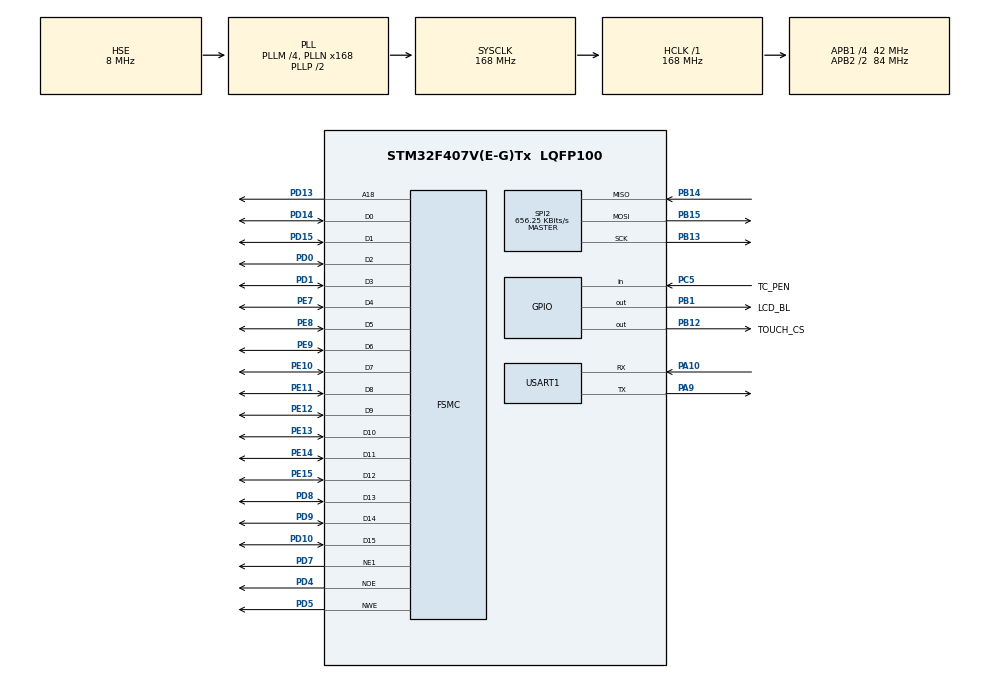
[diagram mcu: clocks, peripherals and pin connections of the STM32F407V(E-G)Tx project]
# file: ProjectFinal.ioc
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FSMC.AddressSetupTime1=1
FSMC.BusTurnAroundDuration1=0
FSMC.DataSetupTime1=5
Mcu.Family=STM32F4
Mcu.Name=STM32F407V(E-G)Tx
Mcu.Package=LQFP100
NVIC.PriorityGroup=NVIC_PRIORITYGROUP_4
NVIC.TIM2_IRQn=true\:0\:0\:false\:false\:true\:true\:true\:true
NVIC.USART1_IRQn=true\:0\:0\:false\:false\:true\:true\:true\:true
PA10.Mode=Asynchronous
PA10.Signal=USART1_RX
PA13.Mode=Serial_Wire
PA13.Signal=SYS_JTMS-SWDIO
PA14.Mode=Serial_Wire
PA14.Signal=SYS_JTCK-SWCLK
PA9.Mode=Asynchronous
PA9.Signal=USART1_TX
PB1.GPIO_Label=LCD_BL
PB1.Signal=GPIO_Output
PB12.GPIO_Label=TOUCH_CS
PB12.Signal=GPIO_Output
PB13.Mode=Full_Duplex_Master
PB13.Signal=SPI2_SCK
PB14.Mode=Full_Duplex_Master
PB14.Signal=SPI2_MISO
PB15.Mode=Full_Duplex_Master
PB15.Signal=SPI2_MOSI
PC5.GPIO_Label=TC_PEN
PC5.Signal=GPIO_Input
PD0.Mode=16b-d1
PD0.Signal=FSMC_D2
PD1.Mode=16b-d1
PD1.Signal=FSMC_D3
PD10.Mode=16b-d1
PD10.Signal=FSMC_D15
PD13.Mode=A18_1
PD13.Signal=FSMC_A18
PD14.Mode=16b-d1
PD14.Signal=FSMC_D0
PD15.Mode=16b-d1
PD15.Signal=FSMC_D1
PD4.Mode=Lcd1
PD4.Signal=FSMC_NOE
PD5.Mode=Lcd1
PD5.Signal=FSMC_NWE
PD7.Mode=NorPsramChipSelect1_1
PD7.Signal=FSMC_NE1
PD8.Mode=16b-d1
PD8.Signal=FSMC_D13
PD9.Mode=16b-d1
PD9.Signal=FSMC_D14
PE10.Mode=16b-d1
PE10.Signal=FSMC_D7
PE11.Mode=16b-d1
PE11.Signal=FSMC_D8
PE12.Mode=16b-d1
PE12.Signal=FSMC_D9
PE13.Mode=16b-d1
PE13.Signal=FSMC_D10
PE14.Mode=16b-d1
PE14.Signal=FSMC_D11
PE15.Mode=16b-d1
PE15.Signal=FSMC_D12
PE7.Mode=16b-d1
PE7.Signal=FSMC_D4
PE8.Mode=16b-d1
PE8.Signal=FSMC_D5
PE9.Mode=16b-d1
PE9.Signal=FSMC_D6
PH0-OSC_IN.Mode=HSE-External-Oscillator
PH0-OSC_IN.Signal=RCC_OSC_IN
PH1-OSC_OUT.Mode=HSE-External-Oscillator
PH1-OSC_OUT.Signal=RCC_OSC_OUT
ProjectManager.HeapSize=0x200
ProjectManager.StackSize=0x400
ProjectManager.TargetToolchain=STM32CubeIDE
RCC.48MHZClocksFreq_Value=84000000
RCC.AHBFreq_Value=168000000
RCC.APB1CLKDivider=RCC_HCLK_DIV4
RCC.APB1Freq_Value=42000000
RCC.APB1TimFreq_Value=84000000
RCC.APB2CLKDivider=RCC_HCLK_DIV2
RCC.APB2Freq_Value=84000000
RCC.APB2TimFreq_Value=168000000
RCC.CortexFreq_Value=168000000
RCC.HCLKFreq_Value=168000000
RCC.HSE_VALUE=8000000
RCC.HSI_VALUE=16000000
RCC.LSE_VALUE=32768
RCC.PLLM=4
RCC.PLLN=168
RCC.PLLSourceVirtual=RCC_PLLSOURCE_HSE
RCC.SYSCLKFreq_VALUE=168000000
RCC.SYSCLKSource=RCC_SYSCLKSOURCE_PLLCLK
RCC.VCOOutputFreq_Value=336000000
SPI2.BaudRatePrescaler=SPI_BAUDRATEPRESCALER_64
SPI2.CalculateBaudRate=656.25 KBits/s
SPI2.Direction=SPI_DIRECTION_2LINES
SPI2.Mode=SPI_MODE_MASTER
SPI2.VirtualType=VM_MASTER
TIM2.Period=9999
TIM2.Prescaler=8499
USART1.VirtualMode=VM_ASYNC
VP_TIM2_VS_ClockSourceINT.Mode=Internal
board=custom

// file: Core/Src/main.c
/* USER CODE BEGIN Header */
/**
  ******************************************************************************
  * @file           : main.c
  * @brief          : Main program body
  ******************************************************************************
  * @attention
  *
  * Copyright (c) 2024 STMicroelectronics.
  * All rights reserved.
  *
  * This software is licensed under terms that can be found in the LICENSE file
  * in the root directory of this software component.
  * If no LICENSE file comes with this software, it is provided AS-IS.
  *
  ******************************************************************************
  */
/* USER CODE END Header */
#include "main.h"

/* USER CODE BEGIN Includes */
#include "stdio.h"
#include "ili9341.h"
#include "math.h"
#include "string.h"
#include "front_end.h"
#include "touch.h"
#include "cJSON.h"
#include "stdlib.h"
#include "stdbool.h"
#include "DHT.h"
/* USER CODE END Includes */

/* USER CODE BEGIN PD */
#define min(a,b) (((a)<(b))?(a):(b))

#define UART_RX_BUFFER_SIZE 1024
#define UART_BUFFER_SIZE 2048
uint8_t uart_rx_buffer[UART_BUFFER_SIZE];

/* USER CODE END PD */

SPI_HandleTypeDef hspi2;

TIM_HandleTypeDef htim2;

UART_HandleTypeDef huart1;

SRAM_HandleTypeDef hsram1;

void SystemClock_Config(void);
static void MX_GPIO_Init(void);
static void MX_FSMC_Init(void);
static void MX_USART1_UART_Init(void);
static void MX_SPI2_Init(void);
static void MX_TIM2_Init(void);
/* USER CODE BEGIN PFP */
/* Private function prototypes -----------------------------------------------*/
void processWeather(char *jsonString);

void UART_ReceiveString(UART_HandleTypeDef *huart, char *buffer, int buffer_size);
void Send_AT_Commands(UART_HandleTypeDef *huart);
void Resend_AT_Commands(UART_HandleTypeDef *huart);
void Send_AT_Command(UART_HandleTypeDef *huart, const char *command, uint32_t timeout );
void Send_AT_Command1(UART_HandleTypeDef *huart, const char *command, uint32_t timeout );
//
void RunProgram();

/* USER CODE END PFP */

/* USER CODE BEGIN 0 */
int count = 0;
float temperature = 1;
float humidity = 1;
volatile bool readDHT = false;
volatile bool Recall = false;
volatile bool Reload = false;
int *temp_max = {0};
int *temp_min = {0};
double *UV = {0};
int *wind_speed = {0};
int *day_code = {0};
char day_name[7][4];
char Date[7][6];
char current_time[6];
char current_date[11];
int current_temp;
int current_humi;
int current_code;
int current_cloud;
int isDay;

int choice = 1;
int choiceTmp = 1;
//
int current = 1;
bool updated = true;
int16_t tx , ty;

// AT Commands
uint8_t ATCommand1[UART_BUFFER_SIZE] = "GET /v1/forecast?latitude=10.7769&longitude=106.7009&current=temperature_2m,relative_humidity_2m,is_day,weather_code,cloud_cover&daily=weather_code,temperature_2m_max,temperature_2m_min,uv_index_max,wind_speed_10m_max&timezone=Asia%2FBangkok HTTP/1.1\r\nHost: api.open-meteo.com\r\nConnection: close\r\n\r\n";

uint8_t ATCommand2[UART_BUFFER_SIZE] = "GET /v1/forecast?latitude=21.0285&longitude=105.8542&current=temperature_2m,relative_humidity_2m,is_day,weather_code,cloud_cover&daily=weather_code,temperature_2m_max,temperature_2m_min,uv_index_max,wind_speed_10m_max&timezone=Asia%2FBangkok HTTP/1.1\r\nHost: api.open-meteo.com\r\nConnection: close\r\n\r\n";

uint8_t ATCommand3[UART_BUFFER_SIZE] = "GET /v1/forecast?latitude=20.8449&longitude=106.6881&current=temperature_2m,relative_humidity_2m,is_day,weather_code,cloud_cover&daily=weather_code,temperature_2m_max,temperature_2m_min,uv_index_max,wind_speed_10m_max&timezone=Asia%2FBangkok HTTP/1.1\r\nHost: api.open-meteo.com\r\nConnection: close\r\n\r\n";

uint8_t ATCommand4[UART_BUFFER_SIZE] = "GET /v1/forecast?latitude=10.0452&longitude=105.7469&current=temperature_2m,relative_humidity_2m,is_day,weather_code,cloud_cover&daily=weather_code,temperature_2m_max,temperature_2m_min,uv_index_max,wind_speed_10m_max&timezone=Asia%2FBangkok HTTP/1.1\r\nHost: api.open-meteo.com\r\nConnection: close\r\n\r\n";

uint8_t ATCommand5[UART_BUFFER_SIZE] = "GET /v1/forecast?latitude=16.0471&longitude=108.2068&current=temperature_2m,relative_humidity_2m,is_day,weather_code,cloud_cover&daily=weather_code,temperature_2m_max,temperature_2m_min,uv_index_max,wind_speed_10m_max&timezone=Asia%2FBangkok HTTP/1.1\r\nHost: api.open-meteo.com\r\nConnection: close\r\n\r\n";

/* USER CODE END 0 */

int main(void)
{

  /* MCU Configuration--------------------------------------------------------*/

  /* Reset of all peripherals, Initializes the Flash interface and the Systick. */
  HAL_Init();

  /* Configure the system clock */
  SystemClock_Config();

  /* Initialize all configured peripherals */
  MX_GPIO_Init();
  MX_FSMC_Init();
  MX_USART1_UART_Init();
  MX_SPI2_Init();
  MX_TIM2_Init();
  /* USER CODE BEGIN 2 */
  LCD_BL_ON();
  HAL_TIM_Base_Start_IT(&htim2);
  TouchCalibrate();

  lcdInit();
  int i = 0;

  lcdSetOrientation(i%4);
  lcdFillRGB(COLOR_BLACK);
  Send_AT_Commands(&huart1);
  processWeather(uart_rx_buffer);

  /* USER CODE END 2 */

  /* Infinite loop */
  /* USER CODE BEGIN WHILE */
  while (1)
  {
	  RunProgram();
    /* USER CODE END WHILE */

  }
}

void SystemClock_Config(void)
{
  RCC_OscInitTypeDef RCC_OscInitStruct = {0};
  RCC_ClkInitTypeDef RCC_ClkInitStruct = {0};

  /** Configure the main internal regulator output voltage
  */
  __HAL_RCC_PWR_CLK_ENABLE();
  __HAL_PWR_VOLTAGESCALING_CONFIG(PWR_REGULATOR_VOLTAGE_SCALE1);

  /** Initializes the RCC Oscillators according to the specified parameters
  * in the RCC_OscInitTypeDef structure.
  */
  RCC_OscInitStruct.OscillatorType = RCC_OSCILLATORTYPE_HSE;
  RCC_OscInitStruct.HSEState = RCC_HSE_ON;
  RCC_OscInitStruct.PLL.PLLState = RCC_PLL_ON;
  RCC_OscInitStruct.PLL.PLLSource = RCC_PLLSOURCE_HSE;
  RCC_OscInitStruct.PLL.PLLM = 4;
  RCC_OscInitStruct.PLL.PLLN = 168;
  RCC_OscInitStruct.PLL.PLLP = RCC_PLLP_DIV2;
  RCC_OscInitStruct.PLL.PLLQ = 4;
  if (HAL_RCC_OscConfig(&RCC_OscInitStruct) != HAL_OK)
  {
    Error_Handler();
  }

  /** Initializes the CPU, AHB and APB buses clocks
  */
  RCC_ClkInitStruct.ClockType = RCC_CLOCKTYPE_HCLK|RCC_CLOCKTYPE_SYSCLK
                              |RCC_CLOCKTYPE_PCLK1|RCC_CLOCKTYPE_PCLK2;
  RCC_ClkInitStruct.SYSCLKSource = RCC_SYSCLKSOURCE_PLLCLK;
  RCC_ClkInitStruct.AHBCLKDivider = RCC_SYSCLK_DIV1;
  RCC_ClkInitStruct.APB1CLKDivider = RCC_HCLK_DIV4;
  RCC_ClkInitStruct.APB2CLKDivider = RCC_HCLK_DIV2;

  if (HAL_RCC_ClockConfig(&RCC_ClkInitStruct, FLASH_LATENCY_5) != HAL_OK)
  {
    Error_Handler();
  }
}

static void MX_SPI2_Init(void)
{

  /* SPI2 parameter configuration*/
  hspi2.Instance = SPI2;
  hspi2.Init.Mode = SPI_MODE_MASTER;
  hspi2.Init.Direction = SPI_DIRECTION_2LINES;
  hspi2.Init.DataSize = SPI_DATASIZE_8BIT;
  hspi2.Init.CLKPolarity = SPI_POLARITY_LOW;
  hspi2.Init.CLKPhase = SPI_PHASE_1EDGE;
  hspi2.Init.NSS = SPI_NSS_SOFT;
  hspi2.Init.BaudRatePrescaler = SPI_BAUDRATEPRESCALER_64;
  hspi2.Init.FirstBit = SPI_FIRSTBIT_MSB;
  hspi2.Init.TIMode = SPI_TIMODE_DISABLE;
  hspi2.Init.CRCCalculation = SPI_CRCCALCULATION_DISABLE;
  hspi2.Init.CRCPolynomial = 10;
  if (HAL_SPI_Init(&hspi2) != HAL_OK)
  {
    Error_Handler();
  }

}

static void MX_TIM2_Init(void)
{

  TIM_ClockConfigTypeDef sClockSourceConfig = {0};
  TIM_MasterConfigTypeDef sMasterConfig = {0};

  htim2.Instance = TIM2;
  htim2.Init.Prescaler = 8499;
  htim2.Init.CounterMode = TIM_COUNTERMODE_UP;
  htim2.Init.Period = 9999;
  htim2.Init.ClockDivision = TIM_CLOCKDIVISION_DIV1;
  htim2.Init.AutoReloadPreload = TIM_AUTORELOAD_PRELOAD_DISABLE;
  if (HAL_TIM_Base_Init(&htim2) != HAL_OK)
  {
    Error_Handler();
  }
  sClockSourceConfig.ClockSource = TIM_CLOCKSOURCE_INTERNAL;
  if (HAL_TIM_ConfigClockSource(&htim2, &sClockSourceConfig) != HAL_OK)
  {
    Error_Handler();
  }
  sMasterConfig.MasterOutputTrigger = TIM_TRGO_RESET;
  sMasterConfig.MasterSlaveMode = TIM_MASTERSLAVEMODE_DISABLE;
  if (HAL_TIMEx_MasterConfigSynchronization(&htim2, &sMasterConfig) != HAL_OK)
  {
    Error_Handler();
  }

}

static void MX_USART1_UART_Init(void)
{

  huart1.Instance = USART1;
  huart1.Init.BaudRate = 115200;
  huart1.Init.WordLength = UART_WORDLENGTH_8B;
  huart1.Init.StopBits = UART_STOPBITS_1;
  huart1.Init.Parity = UART_PARITY_NONE;
  huart1.Init.Mode = UART_MODE_TX_RX;
  huart1.Init.HwFlowCtl = UART_HWCONTROL_NONE;
  huart1.Init.OverSampling = UART_OVERSAMPLING_16;
  if (HAL_UART_Init(&huart1) != HAL_OK)
  {
    Error_Handler();
  }

}

static void MX_GPIO_Init(void)
{
  GPIO_InitTypeDef GPIO_InitStruct = {0};

  /* GPIO Ports Clock Enable */
  __HAL_RCC_GPIOH_CLK_ENABLE();
  __HAL_RCC_GPIOC_CLK_ENABLE();
  __HAL_RCC_GPIOB_CLK_ENABLE();
  __HAL_RCC_GPIOE_CLK_ENABLE();
  __HAL_RCC_GPIOD_CLK_ENABLE();
  __HAL_RCC_GPIOA_CLK_ENABLE();

  /*Configure GPIO pin Output Level */
  HAL_GPIO_WritePin(GPIOB, LCD_BL_Pin|TOUCH_CS_Pin, GPIO_PIN_RESET);

  /*Configure GPIO pin : TC_PEN_Pin */
  GPIO_InitStruct.Pin = TC_PEN_Pin;
  GPIO_InitStruct.Mode = GPIO_MODE_INPUT;
  GPIO_InitStruct.Pull = GPIO_NOPULL;
  HAL_GPIO_Init(TC_PEN_GPIO_Port, &GPIO_InitStruct);

  /*Configure GPIO pins : LCD_BL_Pin TOUCH_CS_Pin */
  GPIO_InitStruct.Pin = LCD_BL_Pin|TOUCH_CS_Pin;
  GPIO_InitStruct.Mode = GPIO_MODE_OUTPUT_PP;
  GPIO_InitStruct.Pull = GPIO_NOPULL;
  GPIO_InitStruct.Speed = GPIO_SPEED_FREQ_LOW;
  HAL_GPIO_Init(GPIOB, &GPIO_InitStruct);

}

/* FSMC initialization function */
static void MX_FSMC_Init(void)
{

  FSMC_NORSRAM_TimingTypeDef Timing = {0};

  /** Perform the SRAM1 memory initialization sequence
  */
  hsram1.Instance = FSMC_NORSRAM_DEVICE;
  hsram1.Extended = FSMC_NORSRAM_EXTENDED_DEVICE;
  /* hsram1.Init */
  hsram1.Init.NSBank = FSMC_NORSRAM_BANK1;
  hsram1.Init.DataAddressMux = FSMC_DATA_ADDRESS_MUX_DISABLE;
  hsram1.Init.MemoryType = FSMC_MEMORY_TYPE_SRAM;
  hsram1.Init.MemoryDataWidth = FSMC_NORSRAM_MEM_BUS_WIDTH_16;
  hsram1.Init.BurstAccessMode = FSMC_BURST_ACCESS_MODE_DISABLE;
  hsram1.Init.WaitSignalPolarity = FSMC_WAIT_SIGNAL_POLARITY_LOW;
  hsram1.Init.WrapMode = FSMC_WRAP_MODE_DISABLE;
  hsram1.Init.WaitSignalActive = FSMC_WAIT_TIMING_BEFORE_WS;
  hsram1.Init.WriteOperation = FSMC_WRITE_OPERATION_ENABLE;
  hsram1.Init.WaitSignal = FSMC_WAIT_SIGNAL_DISABLE;
  hsram1.Init.ExtendedMode = FSMC_EXTENDED_MODE_DISABLE;
  hsram1.Init.AsynchronousWait = FSMC_ASYNCHRONOUS_WAIT_DISABLE;
  hsram1.Init.WriteBurst = FSMC_WRITE_BURST_DISABLE;
  hsram1.Init.PageSize = FSMC_PAGE_SIZE_NONE;
  /* Timing */
  Timing.AddressSetupTime = 1;
  Timing.AddressHoldTime = 15;
  Timing.DataSetupTime = 5;
  Timing.BusTurnAroundDuration = 0;
  Timing.CLKDivision = 16;
  Timing.DataLatency = 17;
  Timing.AccessMode = FSMC_ACCESS_MODE_A;
  /* ExtTiming */

  if (HAL_SRAM_Init(&hsram1, &Timing, NULL) != HAL_OK)
  {
    Error_Handler( );
  }

}

/* USER CODE BEGIN 4 */
// Hàm xử lý ngắt của bộ định th�?i

// Hàm callback khi ngắt xảy ra
void HAL_TIM_PeriodElapsedCallback(TIM_HandleTypeDef *htim)
{
    if (htim->Instance == TIM2)
    {
    	count++;
    	if (count % 5 == 0){
        	readDHT = true; // �?ặt c�? để báo hiệu cần đ�?c dữ liệu
		}
    	if (count == 300){
    		//call API
    		Reload = true;
    		count = 0;
    	}
    }
}
void Send_AT_Command(UART_HandleTypeDef *huart, const char *command, uint32_t timeout) {
    // Gửi lệnh qua UART

    HAL_UART_Transmit(huart, (uint8_t *)command, strlen(command), HAL_MAX_DELAY);

    // Ch�? phản hồi từ ESP
    memset(uart_rx_buffer, 0, UART_BUFFER_SIZE); // Xóa buffer
    HAL_UART_Receive(huart, uart_rx_buffer, UART_BUFFER_SIZE, timeout);

    // Hiển thị phản hồi lên màn hình
    lcdSetCursor(5,220);
    Screen0();
    lcdSetTextColor(COLOR_BLACK, COLOR_THEME_SKYBLUE_BASE);
    lcdSetTextFont(&Font16);
    lcdPrintf("ESP: %s\n", uart_rx_buffer);
}
void Send_AT_Command1(UART_HandleTypeDef *huart, const char *command, uint32_t timeout) {
    // Gửi lệnh qua UART

    HAL_UART_Transmit(huart, (uint8_t *)command, strlen(command), HAL_MAX_DELAY);

    // Ch�? phản hồi từ ESP
    memset(uart_rx_buffer, 0, UART_BUFFER_SIZE); // Xóa buffer
    HAL_UART_Receive(huart, uart_rx_buffer, UART_BUFFER_SIZE, timeout);
}

void Send_AT_Commands(UART_HandleTypeDef *huart) {
    // Gửi từng lệnh AT và xử lý phản hồi

    Send_AT_Command(huart, "AT\r\n", 3000 );
    Send_AT_Command(huart, "AT+CWMODE=3\r\n", 3000 );
    Send_AT_Command(huart, "AT+CWJAP=\"Redmi Turbo 3\",\"88888888\"\r\n", 9000 );
    Send_AT_Command(huart, "AT+CIPSTART=\"TCP\",\"api.open-meteo.com\",80\r\n", 3000 );
    Send_AT_Command(huart, "AT+CIPSEND=299\r\n", 3000);

    // Gửi yêu cầu GET cuối cùng
    if (choice == 1){
    	Send_AT_Command(huart, ATCommand1, 5000);
    }
    else if(choice == 2){
    	Send_AT_Command(huart, ATCommand2, 5000);
    }
    else if(choice == 3){
		Send_AT_Command(huart, ATCommand3, 5000);
	}
    else if(choice == 4){
		Send_AT_Command(huart, ATCommand4, 5000);
	}
    else if(choice == 5){
		Send_AT_Command(huart, ATCommand5, 5000);
	}

}
void Resend_AT_Commands(UART_HandleTypeDef *huart){
	Send_AT_Command1(huart, "AT+CIPSTART=\"TCP\",\"api.open-meteo.com\",80\r\n", 3000 );
	Send_AT_Command1(huart, "AT+CIPSEND=299\r\n", 3000);

	// Gửi yêu cầu GET cuối cùng
	if (choice == 1){
		Send_AT_Command1(huart, ATCommand1, 5000);
	}
	else if(choice == 2){
		Send_AT_Command1(huart, ATCommand2, 5000);
	}
	else if(choice == 3){
		Send_AT_Command1(huart, ATCommand3, 5000);
	}
	else if(choice == 4){
		Send_AT_Command1(huart, ATCommand4, 5000);
	}
	else if(choice == 5){
		Send_AT_Command1(huart, ATCommand5, 5000);
	}
}

void HAL_UART_RxCpltCallback(UART_HandleTypeDef *huart) {
    if (huart->Instance == USART1) { // Kiểm tra UART đúng
        // Xử lý dữ liệu nhận được ở đây

        // Tiếp tục nhận dữ liệu
        HAL_UART_Receive_IT(huart, uart_rx_buffer, UART_BUFFER_SIZE);
    }
}
char* extractJsonObject(const char *jsonString) {
    const char *start = strstr(jsonString, "\"current\":{\"t");
    const char *end = strrchr(jsonString, '}');
    if (start && end && end > start) {
        size_t length = end - start + 1;
        char *result = (char *)malloc(length + 2); // Allocate extra space for the '{' character
        if (result) {
            result[0] = '{'; // Add '{' at the beginning
            strncpy(result + 1, start, length); // Copy the rest of the string
            result[length + 1] = '\0'; // Null-terminate the string
            return result;
        }
    }
    return NULL;
}

void processWeather( char *jsonString) {

	jsonString = extractJsonObject(jsonString);

    cJSON *json = cJSON_Parse(jsonString);

    if (json == NULL) {
        lcdSetCursor(10, 10);
        lcdSetTextColor(COLOR_RED, COLOR_BLACK);
        lcdPrintf("Error parsing JSON!");
        return;
    }

    // Get daily forecast information
    cJSON *daily = cJSON_GetObjectItem(json, "daily");
    cJSON *current = cJSON_GetObjectItem(json, "current");
    if (!daily) {
        lcdSetCursor(10, 10);
        lcdSetTextColor(COLOR_RED, COLOR_BLACK);
        lcdPrintf("Error: Missing 'daily' object!");
        cJSON_Delete(json);
        return;
    }

    cJSON *dates = cJSON_GetObjectItem(daily, "time");
    cJSON *temp_max_json = cJSON_GetObjectItem(daily, "temperature_2m_max");
    cJSON *temp_min_json = cJSON_GetObjectItem(daily, "temperature_2m_min");
    cJSON *uv_json = cJSON_GetObjectItem(daily, "uv_index_max");
    cJSON *weather_code = cJSON_GetObjectItem(daily, "weather_code");
    cJSON *wind_speed_json = cJSON_GetObjectItem(daily, "wind_speed_10m_max");

    char * Tmp =  cJSON_GetObjectItem(current , "time")->valuestring;
    int year, month, day, hour , minute;
	char  tmp[17];
	sscanf(Tmp, "%d-%d-%dT%d:%d", &year, &month, &day , &hour ,&minute);
	snprintf(tmp, sizeof(tmp), "%02d-%02d-%02d", day, month , year);
	strncpy(current_date, tmp, sizeof(current_date) - 1);
	current_date[sizeof(current_date) - 1] = '\0';

	snprintf(tmp, sizeof(tmp), "%02d:%02d", hour, minute);
	strncpy(current_time, tmp, sizeof(current_time) - 1);
	current_time[sizeof(current_time) - 1] = '\0';

    current_temp =  cJSON_GetObjectItem(current , "temperature_2m")->valueint;

	current_humi =  cJSON_GetObjectItem(current , "relative_humidity_2m")->valueint;

	current_code =  cJSON_GetObjectItem(current , "weather_code")->valueint;

	current_cloud =  cJSON_GetObjectItem(current , "cloud_cover")->valueint;

	isDay = cJSON_GetObjectItem(current , "is_day")->valueint;

    // Allocate memory for global variables
    int num_days = cJSON_GetArraySize(dates);
    temp_max = (int *)malloc(num_days * sizeof(int));
    temp_min = (int *)malloc(num_days * sizeof(int));
    UV = (double *)malloc(num_days * sizeof(double));
    wind_speed = (int *)malloc(num_days * sizeof(int));
    day_code = (int *)malloc(num_days * sizeof(int));
    if (!temp_max || !temp_min || !wind_speed || !day_code) {
        lcdSetCursor(10, 10);
        lcdSetTextColor(COLOR_RED, COLOR_BLACK);
        lcdPrintf("Error allocating memory!");
        cJSON_Delete(json);
        return;
    }

    // Convert dates and extract weather data
    for (int i = 0; i < num_days; i++) {
        char *date = cJSON_GetArrayItem(dates, i)->valuestring;
        temp_max[i] = (int)cJSON_GetArrayItem(temp_max_json, i)->valuedouble;
        temp_min[i] = (int)cJSON_GetArrayItem(temp_min_json, i)->valuedouble;
        UV[i] = cJSON_GetArrayItem(uv_json, i)->valuedouble;
        wind_speed[i] = (int)cJSON_GetArrayItem(wind_speed_json, i)->valuedouble;
        day_code[i] = cJSON_GetArrayItem(weather_code, i)->valueint;

        // Extract month and day from date string
        int year, month, days;
        char tmp[6];
        sscanf(date, "%d-%d-%d", &year, &month, &days);
        snprintf(tmp, sizeof(tmp), "%02d-%02d", days, month);
        strncat(Date[i], tmp, sizeof(Date[i]) - strlen(Date[i]) - 1);

        // Convert day index to day name
        char day[4];
        int M;
        M = FindDate(days, month, year);
        switch (M) {
            case 0: snprintf(day, sizeof(day), "Mon"); break;
            case 1: snprintf(day, sizeof(day), "Tue"); break;
            case 2: snprintf(day, sizeof(day), "Wed"); break;
            case 3: snprintf(day, sizeof(day), "Thu"); break;
            case 4: snprintf(day, sizeof(day), "Fri"); break;
            case 5: snprintf(day, sizeof(day), "sat"); break;
            case 6: snprintf(day, sizeof(day), "Sun"); break;
            default: break;
        }
        strncat(day_name[i], day, sizeof(day_name[i]) - strlen(day_name[i]) - 1);
    }

    // Clean up memory
    cJSON_Delete(json);
}

//

void RunProgram(){
  if (readDHT && current == 1)
  {
	  readDHT = false; // Xóa c�?
	  DHT_ReadData(&temperature, &humidity);
	  TextSensor(5, 245, temperature, humidity);
  }
  if(choice != choiceTmp && current == 1){
	  Recall = true;
	  choiceTmp = choice;
  }

  if (current == 1){
	  if (updated == true){
		  Screen1(temp_max[0] , temp_min[0] , current_temp ,  current_humi , current_code ,current_cloud ,current_time ,current_date ,choice);
		  HAL_Delay(1000);
		  updated = false;
	  }
	  if (TouchGetCalibratedPoint(&tx, &ty)){
		  if (tx >= 199 && tx <= 239 && ty >= 25 && ty <= 65){
			  current = 2;
			  updated = true;
			  HAL_Delay(200);
		  }
		  if (tx >= 158 && tx <= 198 && ty >= 25 && ty <= 65){
			  current = 3;
			  updated = true;
			  HAL_Delay(200);
		  }
	  }
  }
  else if (current == 2){
	  if (updated == true){
		  Screen2(temp_max, temp_min, day_code, day_name, wind_speed, Date,current_time ,current_date ,choice);
		  HAL_Delay(1000);
		  updated = false;
	  }
	  if (TouchGetCalibratedPoint(&tx, &ty)){
		  if (tx >= 180 && tx <= 230 && ty >= 10 && ty <= 100){
			  current = 1;
			  updated = true;
			  HAL_Delay(100);
		  }
	  }
  }
  else if (current == 3){
	  if (updated == true){
		  Screen3(choice);
		  HAL_Delay(1000);
		  updated = false;
		  choiceTmp=choice;
	  }
	  if (TouchGetCalibratedPoint(&tx, &ty)){
		  if (tx >= 100 && tx <= 140 && ty >= 275 && ty <= 315){
			  current = 1;
			  updated = true;
			  HAL_Delay(100);
		  }
		  if (tx >= 20 && tx <= 220 && ty >= 50 && ty <= 85){
			  choice = 1;
			  lcdFillRoundRect(20,50, 200, 35, 6, COLOR_GREEN);
			  lcdDrawRoundRect(20,50, 200, 36, 6, COLOR_BLACK);
			  lcdSetTextColor(COLOR_WHITE, COLOR_GREEN);
			  lcdSetTextFont(&Font20);
			  lcdSetCursor(25, 60);
			  lcdPrintf("TP.HCM");
			  //
			  lcdFillRoundRect(20,95, 200, 35, 6, COLOR_LIGHTGREY);
			  lcdDrawRoundRect(20,95, 200, 36, 6, COLOR_BLACK);
			  lcdSetTextColor(COLOR_WHITE, COLOR_LIGHTGREY);
			  lcdSetTextFont(&Font20);
			  lcdSetCursor(25, 105);
			  lcdPrintf("Ha Noi");
			  //
			  lcdSetTextColor(COLOR_WHITE, COLOR_LIGHTGREY);
			  lcdFillRoundRect(20,140, 200, 35, 6, COLOR_LIGHTGREY);
			  lcdDrawRoundRect(20,140, 200, 36, 6, COLOR_BLACK);
			  lcdSetTextFont(&Font20);
			  lcdSetCursor(25, 150);
			  lcdPrintf("Hai Phong");
			  //
			  lcdSetTextColor(COLOR_WHITE, COLOR_LIGHTGREY);
			  lcdFillRoundRect(20,185, 200, 35, 6, COLOR_LIGHTGREY);
			  lcdDrawRoundRect(20,185, 200, 36, 6, COLOR_BLACK);
			  lcdSetTextFont(&Font20);
			  lcdSetCursor(25, 195);
			  lcdPrintf("Can Tho");
			  //
			  lcdSetTextColor(COLOR_WHITE, COLOR_LIGHTGREY);
			  lcdFillRoundRect(20,230, 200, 35, 6, COLOR_LIGHTGREY);
			  lcdDrawRoundRect(20,230, 200, 36, 6, COLOR_BLACK);
			  lcdSetTextFont(&Font20);
			  lcdSetCursor(25, 240);
			  lcdPrintf("Da Nang");
			  HAL_Delay(200);
		  }
		  if (tx >= 20 && tx <= 220 && ty >= 95 && ty <= 130){
			  choice = 2;
			  lcdFillRoundRect(20,50, 200, 35, 6, COLOR_LIGHTGREY);
			  lcdDrawRoundRect(20,50, 200, 36, 6, COLOR_BLACK);
			  lcdSetTextColor(COLOR_WHITE, COLOR_LIGHTGREY);
			  lcdSetTextFont(&Font20);
			  lcdSetCursor(25, 60);
			  lcdPrintf("TP.HCM");
			  //
			  lcdFillRoundRect(20,95, 200, 35, 6, COLOR_GREEN);
			  lcdDrawRoundRect(20,95, 200, 36, 6, COLOR_BLACK);
			  lcdSetTextColor(COLOR_WHITE, COLOR_GREEN);
			  lcdSetTextFont(&Font20);
			  lcdSetCursor(25, 105);
			  lcdPrintf("Ha Noi");
			  //
			  lcdSetTextColor(COLOR_WHITE, COLOR_LIGHTGREY);
			  lcdFillRoundRect(20,140, 200, 35, 6, COLOR_LIGHTGREY);
			  lcdDrawRoundRect(20,140, 200, 36, 6, COLOR_BLACK);
			  lcdSetTextFont(&Font20);
			  lcdSetCursor(25, 150);
			  lcdPrintf("Hai Phong");
			  //
			  lcdSetTextColor(COLOR_WHITE, COLOR_LIGHTGREY);
			  lcdFillRoundRect(20,185, 200, 35, 6, COLOR_LIGHTGREY);
			  lcdDrawRoundRect(20,185, 200, 36, 6, COLOR_BLACK);
			  lcdSetTextFont(&Font20);
			  lcdSetCursor(25, 195);
			  lcdPrintf("Can Tho");
			  //
			  lcdSetTextColor(COLOR_WHITE, COLOR_LIGHTGREY);
			  lcdFillRoundRect(20,230, 200, 35, 6, COLOR_LIGHTGREY);
			  lcdDrawRoundRect(20,230, 200, 36, 6, COLOR_BLACK);
			  lcdSetTextFont(&Font20);
			  lcdSetCursor(25, 240);
			  lcdPrintf("Da Nang");
			  HAL_Delay(200);
		  }
		  if (tx >= 20 && tx <= 220 && ty >= 140 && ty <= 175){
			  choice = 3;
			  lcdFillRoundRect(20,50, 200, 35, 6, COLOR_LIGHTGREY);
			  lcdDrawRoundRect(20,50, 200, 36, 6, COLOR_BLACK);
			  lcdSetTextColor(COLOR_WHITE, COLOR_LIGHTGREY);
			  lcdSetTextFont(&Font20);
			  lcdSetCursor(25, 60);
			  lcdPrintf("TP.HCM");
			  //
			  lcdFillRoundRect(20,95, 200, 35, 6, COLOR_LIGHTGREY);
			  lcdDrawRoundRect(20,95, 200, 36, 6, COLOR_BLACK);
			  lcdSetTextColor(COLOR_WHITE, COLOR_LIGHTGREY);
			  lcdSetTextFont(&Font20);
			  lcdSetCursor(25, 105);
			  lcdPrintf("Ha Noi");
			  //
			  lcdSetTextColor(COLOR_WHITE, COLOR_GREEN);
			  lcdFillRoundRect(20,140, 200, 35, 6, COLOR_GREEN);
			  lcdDrawRoundRect(20,140, 200, 36, 6, COLOR_BLACK);
			  lcdSetTextFont(&Font20);
			  lcdSetCursor(25, 150);
			  lcdPrintf("Hai Phong");
			  //
			  lcdSetTextColor(COLOR_WHITE, COLOR_LIGHTGREY);
			  lcdFillRoundRect(20,185, 200, 35, 6, COLOR_LIGHTGREY);
			  lcdDrawRoundRect(20,185, 200, 36, 6, COLOR_BLACK);
			  lcdSetTextFont(&Font20);
			  lcdSetCursor(25, 195);
			  lcdPrintf("Can Tho");
			  //
			  lcdSetTextColor(COLOR_WHITE, COLOR_LIGHTGREY);
			  lcdFillRoundRect(20,230, 200, 35, 6, COLOR_LIGHTGREY);
			  lcdDrawRoundRect(20,230, 200, 36, 6, COLOR_BLACK);
			  lcdSetTextFont(&Font20);
			  lcdSetCursor(25, 240);
			  lcdPrintf("Da Nang");
			  HAL_Delay(200);
					  }
		  if (tx >= 20 && tx <= 220 && ty >= 185 && ty <= 220){
			  choice = 4;
			  lcdFillRoundRect(20,50, 200, 35, 6, COLOR_LIGHTGREY);
			  lcdDrawRoundRect(20,50, 200, 36, 6, COLOR_BLACK);
			  lcdSetTextColor(COLOR_WHITE, COLOR_LIGHTGREY);
			  lcdSetTextFont(&Font20);
			  lcdSetCursor(25, 60);
			  lcdPrintf("TP.HCM");
			  //
			  lcdFillRoundRect(20,95, 200, 35, 6, COLOR_LIGHTGREY);
			  lcdDrawRoundRect(20,95, 200, 36, 6, COLOR_BLACK);
			  lcdSetTextColor(COLOR_WHITE, COLOR_LIGHTGREY);
			  lcdSetTextFont(&Font20);
			  lcdSetCursor(25, 105);
			  lcdPrintf("Ha Noi");
			  //
			  lcdSetTextColor(COLOR_WHITE, COLOR_LIGHTGREY);
			  lcdFillRoundRect(20,140, 200, 35, 6, COLOR_LIGHTGREY);
			  lcdDrawRoundRect(20,140, 200, 36, 6, COLOR_BLACK);
			  lcdSetTextFont(&Font20);
			  lcdSetCursor(25, 150);
			  lcdPrintf("Hai Phong");
			  //
			  lcdSetTextColor(COLOR_WHITE, COLOR_GREEN);
			  lcdFillRoundRect(20,185, 200, 35, 6, COLOR_GREEN);
			  lcdDrawRoundRect(20,185, 200, 36, 6, COLOR_BLACK);
			  lcdSetTextFont(&Font20);
			  lcdSetCursor(25, 195);
			  lcdPrintf("Can Tho");
			  //
			  lcdSetTextColor(COLOR_WHITE, COLOR_LIGHTGREY);
			  lcdFillRoundRect(20,230, 200, 35, 6, COLOR_LIGHTGREY);
			  lcdDrawRoundRect(20,230, 200, 36, 6, COLOR_BLACK);
			  lcdSetTextFont(&Font20);
			  lcdSetCursor(25, 240);
			  lcdPrintf("Da Nang");
			  HAL_Delay(200);
		  }
		  if (tx >= 20 && tx <= 220 && ty >= 230 && ty <= 265){
			  choice = 5;
			  lcdFillRoundRect(20,50, 200, 35, 6, COLOR_LIGHTGREY);
			  lcdDrawRoundRect(20,50, 200, 36, 6, COLOR_BLACK);
			  lcdSetTextColor(COLOR_WHITE, COLOR_LIGHTGREY);
			  lcdSetTextFont(&Font20);
			  lcdSetCursor(25, 60);
			  lcdPrintf("TP.HCM");
			  //
			  lcdFillRoundRect(20,95, 200, 35, 6, COLOR_LIGHTGREY);
			  lcdDrawRoundRect(20,95, 200, 36, 6, COLOR_BLACK);
			  lcdSetTextColor(COLOR_WHITE, COLOR_LIGHTGREY);
			  lcdSetTextFont(&Font20);
			  lcdSetCursor(25, 105);
			  lcdPrintf("Ha Noi");
			  //
			  lcdSetTextColor(COLOR_WHITE, COLOR_LIGHTGREY);
			  lcdFillRoundRect(20,140, 200, 35, 6, COLOR_LIGHTGREY);
			  lcdDrawRoundRect(20,140, 200, 36, 6, COLOR_BLACK);
			  lcdSetTextFont(&Font20);
			  lcdSetCursor(25, 150);
			  lcdPrintf("Hai Phong");
			  //
			  lcdSetTextColor(COLOR_WHITE, COLOR_LIGHTGREY);
			  lcdFillRoundRect(20,185, 200, 35, 6, COLOR_LIGHTGREY);
			  lcdDrawRoundRect(20,185, 200, 36, 6, COLOR_BLACK);
			  lcdSetTextFont(&Font20);
			  lcdSetCursor(25, 195);
			  lcdPrintf("Can Tho");
			  //
			  lcdSetTextColor(COLOR_WHITE, COLOR_GREEN);
			  lcdFillRoundRect(20,230, 200, 35, 6, COLOR_GREEN);
			  lcdDrawRoundRect(20,230, 200, 36, 6, COLOR_BLACK);
			  lcdSetTextFont(&Font20);
			  lcdSetCursor(25, 240);
			  lcdPrintf("Da Nang");
			  HAL_Delay(200);
		  }
	  }
  }
  if(Recall){
	  Screen0();
	  Resend_AT_Commands(&huart1);
	  processWeather(uart_rx_buffer);
	  if (current == 1){
		  Screen1(temp_max[0] , temp_min[0] , current_temp ,  current_humi , current_code ,current_cloud ,current_time ,current_date , choice);
	  }
	  if (current == 2){
		  Screen2(temp_max, temp_min, day_code, day_name, wind_speed, Date,current_time ,current_date ,choice);
	  }
	  if (current == 3){
		  Screen3(choice);
	  }
	  Recall = false;
  }
  if(Reload){
  	  Resend_AT_Commands(&huart1);
  	  processWeather(uart_rx_buffer);
  	  if (current == 1){
  		  Screen1(temp_max[0] , temp_min[0] , current_temp ,  current_humi , current_code ,current_cloud ,current_time ,current_date , choice);
  	  }
  	  if (current == 2){
  		  Screen2(temp_max, temp_min, day_code, day_name, wind_speed, Date,current_time ,current_date ,choice);
  	  }
  	  if (current == 3){
  		  Screen3(choice);
  	  }
  	  Reload = false;
    }
}

/* USER CODE END 4 */

void Error_Handler(void)
{
  __disable_irq();
  while (1)
  {
  }
}
